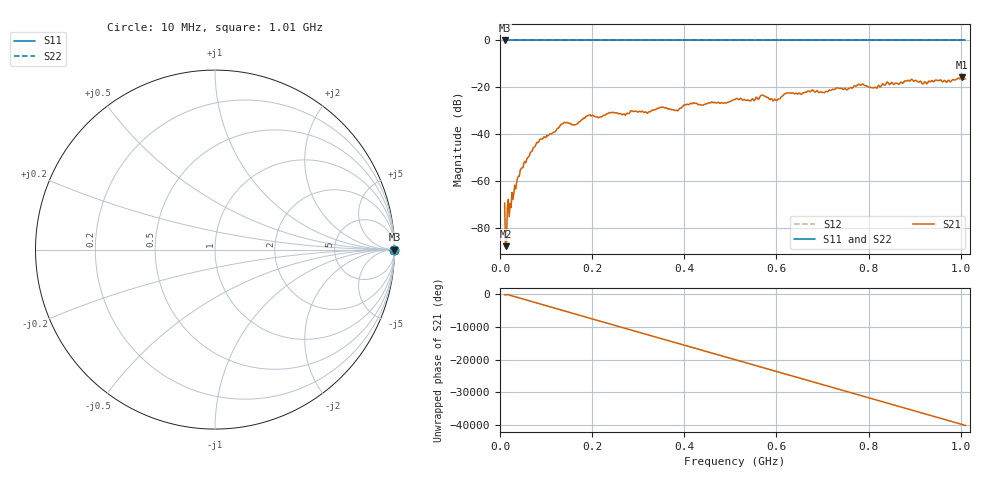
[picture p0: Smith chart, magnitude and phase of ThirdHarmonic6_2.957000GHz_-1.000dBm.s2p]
! 8/17/2025 8:20:03 AM
! C:\ANRITSUVNA\TEMP\TEMP.S2P
! CHANNEL.1
! TR.MEASUREMENT
! RAW.DATA
! RF.CORRECTION.OFF
! AVERAGING.OFF
! IF.BANDWIDTH: 5KHZ
! SWEEPTYPE:  FREQ.SWEEP(Linear)
! Reference Plane Port Info
! PORT:  PORT1  PORT2
! DISTANCE:  0  m  0  m
! TIME:  0  s  0  s
! PHASE.OFFSET:  0  deg.  0  deg.
! LOSS:  0  dB  0  dB
! REF.LOSS:  0  dB  0  dB
! REF.FREQ:  0  Hz  0  Hz
! Power Info
! POWER:  -20  dBm  -20  dBm
! EFF.POWER:  -20  dBm  -20  dBm
! SOURCE.ATTEN:  0  dB  0  dB
! TEST.ATTEN:  0  dB  0  dB
# GHZ S RI R 50.0
! FREQ.GHZ  S11RE  S11IM  S21RE  S21IM  S12RE  S12IM  S22RE  S22IM
!; PortSelection: Port_12
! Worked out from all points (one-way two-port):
!   501 points, 10 MHz to 1.01 GHz, reference 50 ohm
!   highest |S21| = -15.77 dB at 1.002 GHz (marker M1); lowest = -87.9 dB at 12 MHz (marker M2)
!   lowest |S11| = 0.0 dB at 10 MHz (marker M3)
!   |S11| at or under -10 dB: nowhere
!   |S22| runs from 0.0 to 0.0 dB; largest |S21 - S12| = 1.2
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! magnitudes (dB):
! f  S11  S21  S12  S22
! 10 MHz  0.0  -69.5  0.0  0.0
! 12 MHz  0.0  -87.9  0.0  0.0
! 16 MHz  0.0  -71.5  0.0  0.0
! 36 MHz  0.0  -60.8  0.0  0.0
! 48 MHz  0.0  -54.4  0.0  0.0
! 76 MHz  0.0  -45.3  0.0  0.0
! 136 MHz  0.0  -35.6  0.0  0.0
! 162 MHz  0.0  -36.1  0.0  0.0
! 178 MHz  0.0  -33.8  0.0  0.0
! 192 MHz  0.0  -32.0  0.0  0.0
! 322 MHz  0.0  -30.6  0.0  0.0
! 344 MHz  0.0  -29.0  0.0  0.0
! 382 MHz  0.0  -29.8  0.0  0.0
! 416 MHz  0.0  -27.0  0.0  0.0
! 510 MHz  0.0  -25.2  0.0  0.0
! 570 MHz  0.0  -23.3  0.0  0.0
! 596 MHz  0.0  -25.0  0.0  0.0
! 622 MHz  0.0  -22.5  0.0  0.0
! 678 MHz  0.0  -21.1  0.0  0.0
! 844 MHz  0.0  -18.6  0.0  0.0
! 1.002 GHz  0.0  -15.8  0.0  0.0
! 1.01 GHz  0.0  -16.4  0.0  0.0
